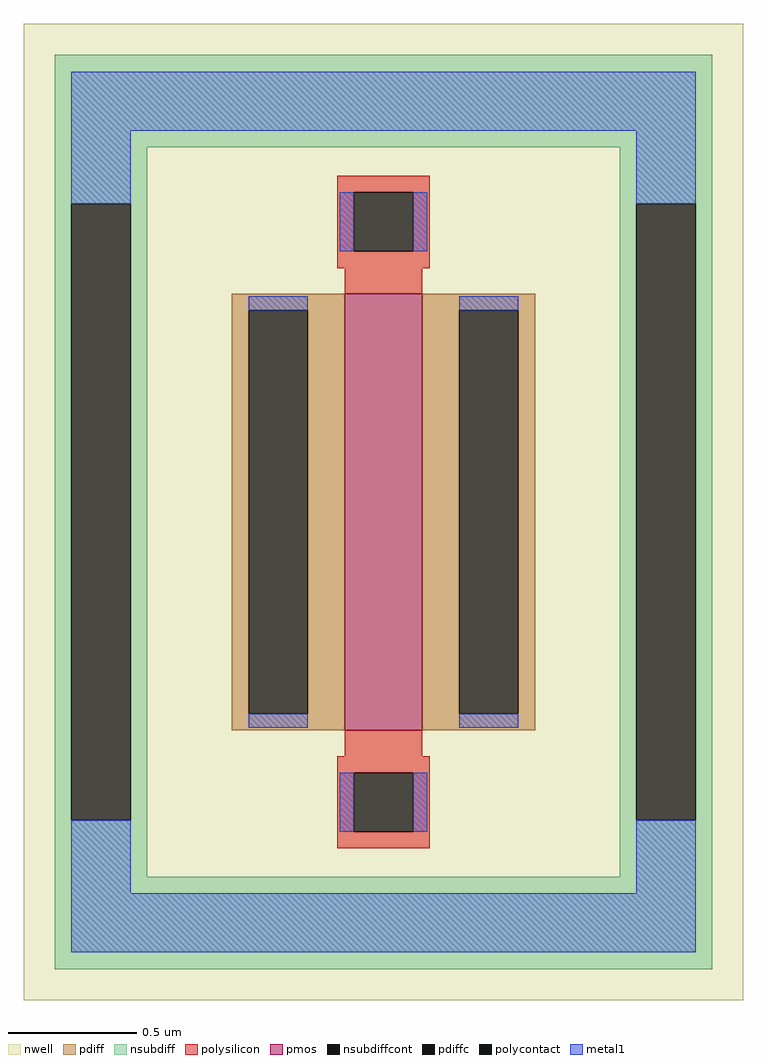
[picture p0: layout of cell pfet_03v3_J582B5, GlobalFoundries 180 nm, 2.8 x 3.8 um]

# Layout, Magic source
magic
tech gf180mcuD
magscale 1 10
<< nwell >>
rect -280 -380 280 380
<< pmos >>
rect -30 -170 30 170
<< pdiff >>
rect -118 157 -30 170
rect -118 -157 -105 157
rect -59 -157 -30 157
rect -118 -170 -30 -157
rect 30 157 118 170
rect 30 -157 59 157
rect 105 -157 118 157
rect 30 -170 118 -157
<< pdiffc >>
rect -105 -157 -59 157
rect 59 -157 105 157
<< nsubdiff >>
rect -256 284 256 356
rect -256 240 -184 284
rect -256 -240 -243 240
rect -197 -240 -184 240
rect 184 240 256 284
rect -256 -284 -184 -240
rect 184 -240 197 240
rect 243 -240 256 240
rect 184 -284 256 -240
rect -256 -356 256 -284
<< nsubdiffcont >>
rect -243 -240 -197 240
rect 197 -240 243 240
<< polysilicon >>
rect -36 249 36 262
rect -36 203 -23 249
rect 23 203 36 249
rect -36 190 36 203
rect -30 170 30 190
rect -30 -190 30 -170
rect -36 -203 36 -190
rect -36 -249 -23 -203
rect 23 -249 36 -203
rect -36 -262 36 -249
<< polycontact >>
rect -23 203 23 249
rect -23 -249 23 -203
<< metal1 >>
rect -243 297 243 343
rect -243 240 -197 297
rect -34 203 -23 249
rect 23 203 34 249
rect 197 240 243 297
rect -105 157 -59 168
rect -105 -168 -59 -157
rect 59 157 105 168
rect 59 -168 105 -157
rect -243 -297 -197 -240
rect -34 -249 -23 -203
rect 23 -249 34 -203
rect 197 -297 243 -240
rect -243 -343 243 -297
<< properties >>
string FIXED_BBOX -220 -320 220 320
string gencell pfet_03v3
string library gf180mcu
string parameters w 1.7 l 0.3 m 1 nf 1 diffcov 100 polycov 100 guard 1 glc 1 grc 1 gtc 0 gbc 0 tbcov 100 rlcov 100 topc 1 botc 1 poverlap 0 doverlap 1 lmin 0.28 wmin 0.22 class mosfet full_metal 1 compatible {pfet_03v3 pfet_05v0 pfet_06v0} ad {int((nf+1)/2) * W/nf * 0.18u} as {int((nf+2)/2) * W/nf * 0.18u} pd {2*int((nf+1)/2) * (W/nf + 0.18u)} ps {2*int((nf+2)/2) * (W/nf + 0.18u)} nrd {0.18u / W} nrs {0.18u / W} sa 0 sb 0 sd 0
<< end >>
